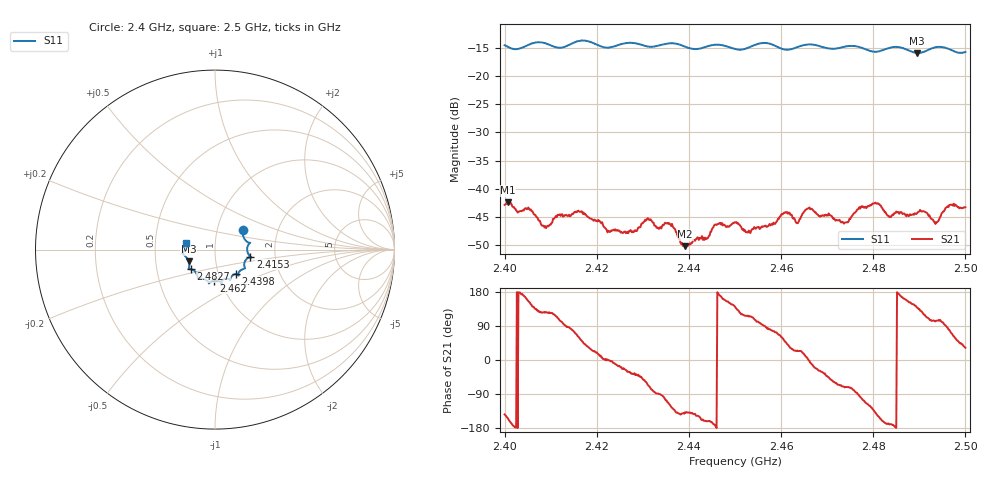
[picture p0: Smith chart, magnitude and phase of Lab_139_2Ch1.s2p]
# Hz S RI R 50
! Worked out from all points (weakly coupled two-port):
!   601 points, 2.4 GHz to 2.5 GHz, reference 50 ohm
!   highest |S21| = -42.42 dB at 2.4007 GHz (marker M1); lowest = -50.2 dB at 2.4392 GHz (marker M2)
!   lowest |S11| = -15.9 dB at 2.4895 GHz (marker M3), VSWR 1.38, Z = 36.9 - j5 ohm
!   |S11| at or under -10 dB: start of sweep to end of sweep
!   S12 and S22 are empty: the file has one direction only
!   S11 on the Smith chart (normalised r, x): 2.4 GHz: 1.33, +0.29; 2.4153 GHz: 1.48, -0.12; 2.4398 GHz: 1.21, -0.34; 2.462 GHz: 0.93, -0.33; 2.4827 GHz: 0.75, -0.17; 2.5 GHz: 0.72, +0.06
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2.4e9  0.1551 0.1067  -0.00579 -0.00428  0 0  0 0
2.400667e9  0.1548 0.0967  -0.00677 -0.00339  0 0  0 0
2.408667e9  0.1935 0.0364  -0.00261 0.00371  0 0  0 0
2.415333e9  0.1968 -0.0395  0.0021 0.00582  0 0  0 0
2.416667e9  0.2027 -0.0436  0.00389 0.00497  0 0  0 0
2.422667e9  0.1641 -0.0723  0.00421 -4.42e-05  0 0  0 0
2.433333e9  0.13 -0.1338  0.000106 -0.00446  0 0  0 0
2.435833e9  0.1315 -0.145  -0.00228 -0.00428  0 0  0 0
2.439167e9  0.1214 -0.1366  -0.00229 -0.00208  0 0  0 0
2.439833e9  0.1155 -0.1361  -0.00236 -0.00205  0 0  0 0
2.45e9  0.0648 -0.162  -0.00391 0.00319  0 0  0 0
2.452833e9  0.0388 -0.1744  -0.00185 0.00364  0 0  0 0
2.462e9  -0.00519 -0.1728  0.00498 0.00311  0 0  0 0
2.466667e9  -0.0342 -0.1881  0.00651 -0.00133  0 0  0 0
2.4735e9  -0.085 -0.1605  0.00172 -0.00469  0 0  0 0
2.480167e9  -0.1114 -0.1217  -0.00516 -0.00533  0 0  0 0
2.482667e9  -0.1353 -0.1089  -0.00602 -0.00144  0 0  0 0
2.483333e9  -0.1405 -0.1085  -0.00561 -0.00123  0 0  0 0
2.4895e9  -0.1463 -0.0659  -0.00453 0.00402  0 0  0 0
2.493667e9  -0.1796 -0.0232  -0.00119 0.00491  0 0  0 0
2.4965e9  -0.1734 -0.0118  0.00128 0.00706  0 0  0 0
2.5e9  -0.1593 0.0388  0.0058 0.00365  0 0  0 0
